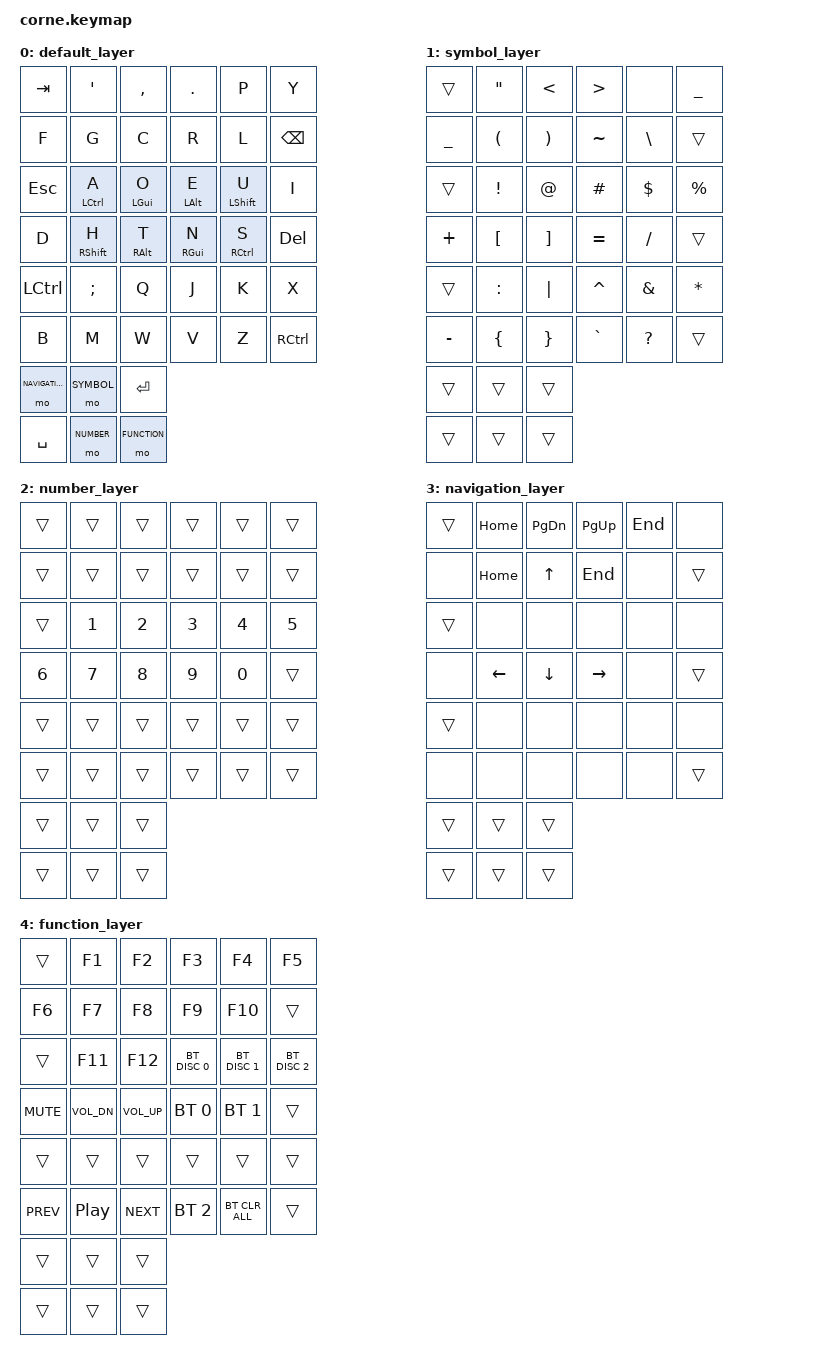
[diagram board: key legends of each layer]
/*
* Copyright (c) 2020 The ZMK Contributors
*
* SPDX-License-Identifier: MIT
*/

#include <behaviors.dtsi>
#include <dt-bindings/zmk/keys.h>
#include <dt-bindings/zmk/bt.h>

#define BASE       0
#define SYMBOL     1
#define NUMBER     2
#define NAVIGATION 3
#define FUNCTION   4

/ {
	behaviors {
		hml: homerow_left {
			compatible = "zmk,behavior-hold-tap";
			label = "HML";
			#binding-cells = <2>;

			flavor = "balanced";
			tapping-term-ms = <180>;
			quick-tap-ms = <120>;
			require-prior-idle-ms = <100>;

			bindings = <&kp>, <&kp>;

			/* Every physical key on the right half */
			hold-trigger-key-positions = <
				6  7  8  9 10 11
				18 19 20 21 22 23
				30 31 32 33 34 35
				39 40 41
			>;

			hold-trigger-on-release;
		};

		hmr: homerow_right {
			compatible = "zmk,behavior-hold-tap";
			label = "HMR";
			#binding-cells = <2>;

			flavor = "balanced";
			tapping-term-ms = <180>;
			quick-tap-ms = <120>;
			require-prior-idle-ms = <100>;

			bindings = <&kp>, <&kp>;

			/* Every physical key on the left half */
			hold-trigger-key-positions = <
				0  1  2  3  4  5
				12 13 14 15 16 17
				24 25 26 27 28 29
				36 37 38
			>;

			hold-trigger-on-release;
		};
	};

	keymap {
		compatible = "zmk,keymap";

		default_layer {
			// -----------------------------------------------------------------------------------------
			// | TAB  |  '  |  ,  |  .  |  P  |  Y  |   |  F  |  G  |  C  |  R  |  L  | BSPC |
			// | ESC  |  A  |  O  |  E  |  U  |  I  |   |  D  |  H  |  T  |  N  |  S  | DEL  |
			// | CTRL |  ;  |  Q  |  J  |  K  |  X  |   |  B  |  M  |  W  |  V  |  Z  | CTRL |
			//                 | NAVIGATION | SYMBOL | SPC |   | ENT | NUMBER | FUNCTION |

			bindings = <
				&kp TAB    &kp SQT       &kp COMMA     &kp DOT        &kp P         &kp Y
				&kp F      &kp G         &kp C         &kp R          &kp L         &kp BSPC

				&kp ESC    &hml LCTRL A  &hml LGUI O   &hml LALT E    &hml LSHFT U  &kp I
				&kp D      &hmr RSHFT H  &hmr RALT T   &hmr RGUI N    &hmr RCTRL S  &kp DEL

				&kp LCTRL  &kp SEMI      &kp Q         &kp J          &kp K         &kp X
				&kp B      &kp M         &kp W         &kp V          &kp Z         &kp RCTRL

				&mo NAVIGATION  &mo SYMBOL     &kp RET
				&kp SPACE       &mo NUMBER     &mo FUNCTION
			>;
		};

		symbol_layer {
			// -----------------------------------------------------------------------------------------
			// | TAB  |  "  |  <  |  >  |     |  _  |   |  _  |  (  |  )  |  ~  |  \  | BSPC |
			// | ESC  |  !  |  @  |  #  |  $  |  %  |   |  +  |  [  |  ]  |  =  |  /  | DEL  |
			// | CTRL |  :  |  |  |  ^  |  &  |  *  |   |  -  |  {  |  }  |  `  |  ?  | CTRL |
			//                 | NAVIGATION | SYMBOL | SPC |   | ENT | NUMBER | FUNCTION |

			bindings = <
				&trans      &kp DQT      &kp LT       &kp GT       &none        &kp UNDER
				&kp UNDER   &kp LPAR     &kp RPAR     &kp TILDE    &kp BSLH     &trans

				&trans      &kp EXCL     &kp AT       &kp HASH     &kp DLLR     &kp PRCNT
				&kp PLUS    &kp LBKT     &kp RBKT     &kp EQUAL    &kp FSLH     &trans

				&trans      &kp COLON    &kp PIPE     &kp CARET    &kp AMPS     &kp STAR
				&kp MINUS   &kp LBRC     &kp RBRC     &kp GRAVE    &kp QMARK    &trans

				&trans       &trans       &trans
				&trans       &trans       &trans
			>;
		};

		number_layer {
			// -----------------------------------------------------------------------------------------
			// | TAB  |      |      |      |      |      |   |      |      |      |      |      | BSPC |
			// | ESC  |  1   |  2   |  3   |  4   |  5   |   |  6   |  7   |  8   |  9   |  0   | DEL  |
			// | CTRL |      |      |      |      |      |   |      |      |      |      |      | CTRL |
			//                 | NAVIGATION | SYMBOL | SPC |   | ENT | NUMBER | FUNCTION |

			bindings = <
				&trans      &trans       &trans       &trans       &trans       &trans
				&trans      &trans       &trans       &trans       &trans       &trans

				&trans      &kp N1       &kp N2       &kp N3       &kp N4       &kp N5
				&kp N6      &kp N7       &kp N8       &kp N9       &kp N0       &trans

				&trans      &trans       &trans       &trans       &trans       &trans
				&trans      &trans       &trans       &trans       &trans       &trans

				&trans       &trans       &trans
				&trans       &trans       &trans
			>;
		};

		navigation_layer {
			// -----------------------------------------------------------------------------------------
			// | TAB  | HOME | PGDN | PGUP | END  |      |   |      | HOME |  UP  | END   |      | BSPC |
			// | ESC  |      |      |      |      |      |   |      | LEFT | DOWN | RIGHT |      | DEL  |
			// | CTRL |      |      |      |      |      |   |      |      |      |       |      | CTRL |
			//                 | NAVIGATION | SYMBOL | SPC |   | ENT | NUMBER | FUNCTION |

			bindings = <
				&trans      &kp HOME     &kp PG_DN    &kp PG_UP    &kp END      &none
				&none       &kp HOME     &kp UP       &kp END      &none        &trans

				&trans      &none        &none        &none        &none        &none
				&none       &kp LEFT     &kp DOWN     &kp RIGHT    &none        &trans

				&trans      &none        &none        &none        &none        &none
				&none       &none        &none        &none        &none        &trans

				&trans       &trans       &trans
				&trans       &trans       &trans
			>;
		};

		function_layer {
			// -----------------------------------------------------------------------------------------
			// | TAB  | F1   | F2   | F3   | F4   | F5   |   | F6   | F7   | F8   | F9   | F10  | BSPC |
			// | ESC  | F11  | F12  | D1   | D2   | D3   |   | MUTE | VOL- | VOL+ | BT 0 | BT 1 | DEL  |
			// | CTRL |      |      |      |      |      |   | PREV | PLAY | NEXT | BT 2 | CLEAR| CTRL |
			//                 | NAVIGATION | SYMBOL | SPC |   | ENT | NUMBER | FUNCTION |

			bindings = <
				&trans      &kp F1       &kp F2       &kp F3          &kp F4          &kp F5
				&kp F6      &kp F7       &kp F8       &kp F9          &kp F10         &trans

				&trans      &kp F11      &kp F12      &bt BT_DISC 0   &bt BT_DISC 1   &bt BT_DISC 2
				&kp C_MUTE  &kp C_VOL_DN &kp C_VOL_UP &bt BT_SEL 0    &bt BT_SEL 1    &trans

				&trans      &trans       &trans       &trans          &trans          &trans
				&kp C_PREV  &kp C_PLAY_PAUSE
				&kp C_NEXT    &bt BT_SEL 2    &bt BT_CLR_ALL      &trans

				&trans          &trans          &trans
				&trans          &trans          &trans
			>;
		};
	};
};

